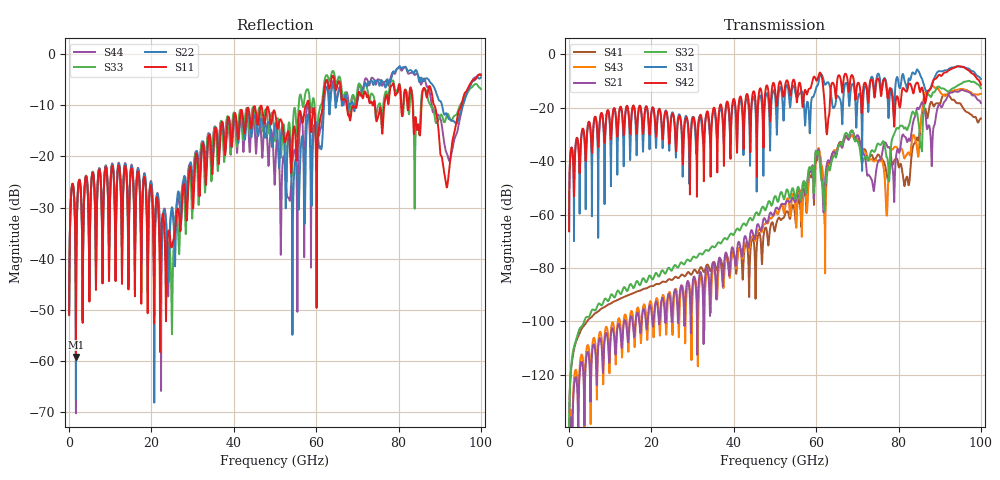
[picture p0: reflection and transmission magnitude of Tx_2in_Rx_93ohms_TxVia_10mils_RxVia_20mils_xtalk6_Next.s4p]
! Info: Touchstone file created by Circ.  Input file=Tx_2in_Rx_93ohms_TxVia_10mils_RxVia_20mils.circ
# Hz S RI R 50
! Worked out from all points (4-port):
!   10000 points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, 10 MHz to 100 GHz, reference 50 ohm
!   strongest paths, dB at 10 MHz, 25.01 GHz, 50.01 GHz, 75.01 GHz, 100 GHz:
!     S42: -66.2, -22.4, -13.1, -9.0, -11.4
!     S31: -66.2, -21.9, -15.5, -7.2, -9.2
!     S32: -144.7, -80.8, -53.1, -33.4, -12.7
!     S21: -160.2, -99.5, -58.5, -40.2, -18.2
!     S43: -146.6, -100.1, -59.1, -39.9, -14.8
!     S41: -144.7, -84.5, -65.9, -37.5, -24.0
!   lowest |S11| = -59.2 dB at 1.66 GHz (marker M1), VSWR 1.00, Z = 50.1 - j0.0456 ohm
!   |S11| at or under -10 dB: start of sweep to 57.56 GHz; 58.32 GHz to 61.58 GHz (3.261 GHz wide, 5.44 % of centre); 88.65 GHz to 95.24 GHz (6.584 GHz wide, 7.16 % of centre)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
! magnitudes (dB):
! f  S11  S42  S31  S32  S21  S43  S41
! 10 MHz  -50.9  -66.2  -66.2  -144.7  -160.2  -146.6  -144.7
! 1.66 GHz  -59.2  -32.9  -32.9  -107.2  -120.9  -118.2  -107.7
! 38.94 GHz  -12.9  -23.5  -25.3  -67.7  -82.5  -82.9  -80.8
! 67.14 GHz  -8.9  -7.2  -10.8  -29.5  -30.6  -31.3  -30.9
! 77.09 GHz  -8.0  -13.3  -11.2  -38.4  -33.8  -59.9  -44.5
! 87.94 GHz  -7.1  -12.5  -12.0  -15.8  -36.0  -11.9  -17.8
! 100 GHz  -4.2  -11.4  -9.2  -12.7  -18.2  -14.8  -24.0
